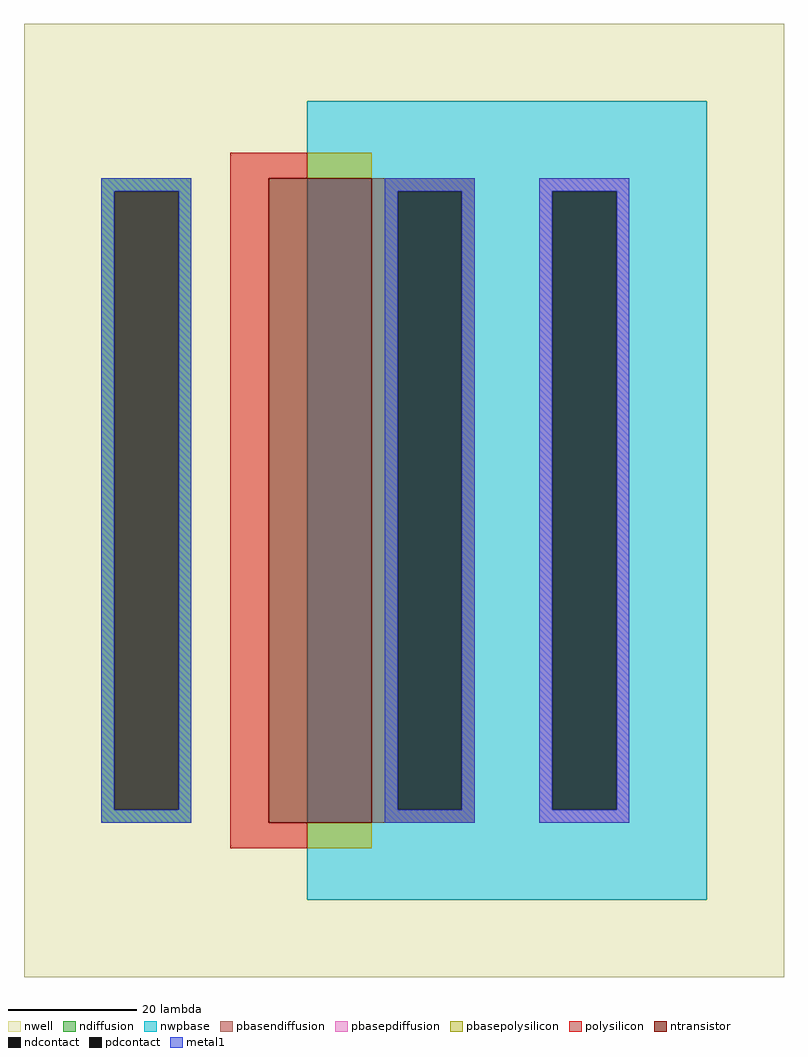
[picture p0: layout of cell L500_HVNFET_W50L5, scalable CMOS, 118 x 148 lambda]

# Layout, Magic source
magic
tech scmos
<< nwell >>
rect -48 104 70 116
rect -48 -20 -4 104
rect 58 -20 70 104
rect -48 -32 70 -20
<< polysilicon >>
rect -16 92 -4 96
rect -16 -8 -10 92
rect -16 -12 -4 -8
<< pbasepolysilicon >>
rect -4 92 6 96
rect -4 -12 6 -8
<< ndiffusion >>
rect -36 90 -22 92
rect -36 -6 -34 90
rect -24 -6 -22 90
rect -36 -8 -22 -6
<< metal1 >>
rect -36 90 -22 92
rect -36 -6 -34 90
rect -24 -6 -22 90
rect -36 -8 -22 -6
rect 8 90 22 92
rect 8 -6 10 90
rect 20 -6 22 90
rect 8 -8 22 -6
rect 32 90 46 92
rect 32 -6 34 90
rect 44 -6 46 90
rect 32 -8 46 -6
<< ntransistor >>
rect -10 -8 6 92
<< nwpbase >>
rect -4 -20 58 104
<< pbasendiffusion >>
rect 6 90 22 92
rect 6 -6 10 90
rect 20 -6 22 90
rect 6 -8 22 -6
<< pbasepdiffusion >>
rect 32 90 46 92
rect 32 -6 34 90
rect 44 -6 46 90
rect 32 -8 46 -6
<< ndcontact >>
rect -34 -6 -24 90
rect 10 -6 20 90
<< pdcontact >>
rect 34 -6 44 90
<< end >>
